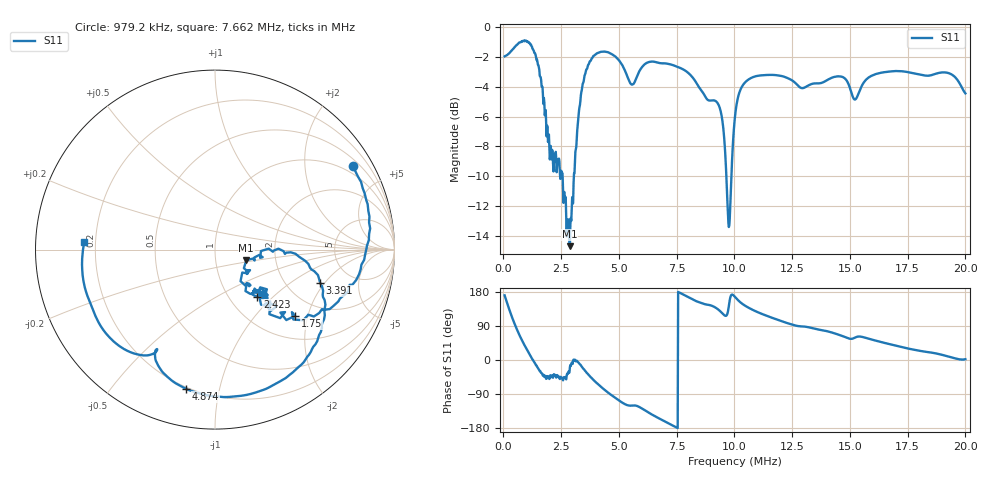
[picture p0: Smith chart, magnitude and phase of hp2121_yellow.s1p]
# Hz S RI R 50
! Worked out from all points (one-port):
!   1010 points, 50 kHz to 20 MHz, reference 50 ohm
!   lowest |S11| = -14.7 dB at 2.877 MHz (marker M1), VSWR 1.45, Z = 70.5 - j8.59 ohm
!   |S11| at or under -10 dB: 2.454 MHz to 2.47 MHz (16.51 kHz wide, 0.671 % of centre); 2.56 MHz to 3.05 MHz (489.7 kHz wide, 17.5 % of centre); 9.651 MHz to 9.869 MHz (218.4 kHz wide, 2.24 % of centre)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
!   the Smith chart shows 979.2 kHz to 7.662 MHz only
!   S11 on the Smith chart (normalised r, x): 979.2 kHz: 0.70, +3.46; 1.75 MHz: 1.50, -1.66; 2.423 MHz: 1.34, -0.81; 3.391 MHz: 3.02, -1.80; 4.874 MHz: 0.19, -0.80; 7.662 MHz: 0.16, +0.03
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50000  -0.7874 0.1305
227900  -0.6006 0.5501
504700  -0.0305 0.8602
722200  0.4204 0.7846
979200  0.7712 0.4663
1295600  0.8365 -0.028
1750300  0.4455 -0.3693
2422572  0.236 -0.2639
2560972  0.1969 -0.247
2877372  0.1744 -0.0588
3134372  0.3896 -0.0242
3391372  0.5859 -0.1859
4103244  0.3535 -0.7391
4874344  -0.1597 -0.7763
5052244  -0.2491 -0.7225
6159516  -0.526 -0.5421
7543516  -0.7359 -0.00329
7662216  -0.728 0.044
9322988  -0.3662 0.406
9659188  -0.1415 0.2712
9797588  -0.2111 0.0851
1.003486e7  -0.4942 0.1245
1.098386e7  -0.4116 0.5489
1.252613e7  -0.0335 0.6596
1.50174e7  0.3474 0.513
1.59071e7  0.3966 0.5583
1.750868e7  0.6096 0.357
1.999995e7  0.599 0.0214
